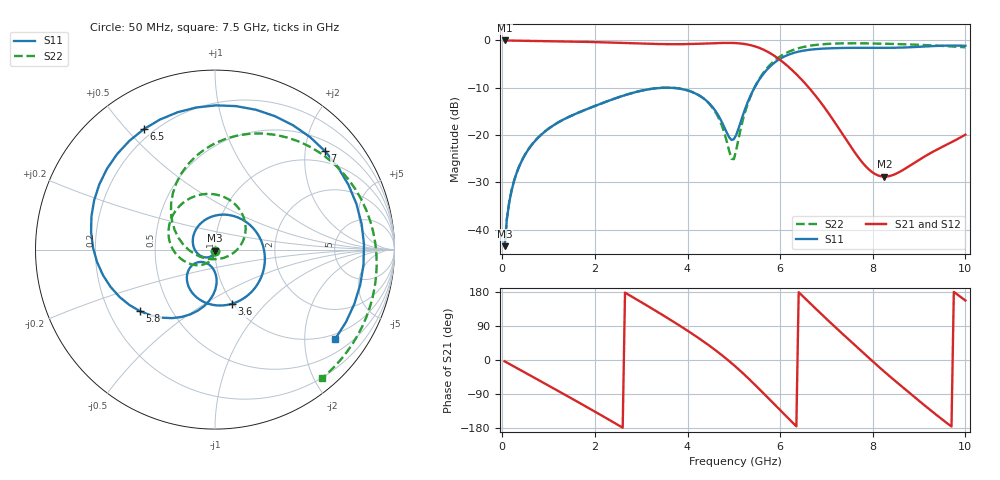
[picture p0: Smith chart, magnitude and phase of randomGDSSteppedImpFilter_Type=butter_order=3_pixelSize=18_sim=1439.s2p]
! freq	dB(S11)	phase(S11)	dB(S12)	phase(S12)
!  dB(S21)	phase(S21)	dB(S22)	phase(S22)
!S-par simulation data
#  GHz  S  DB  R 50
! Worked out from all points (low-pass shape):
!   200 points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, 50 MHz to 10 GHz, reference 50 ohm
!   highest |S21| = -0.01 dB at 50 MHz (marker M1); lowest = -28.8 dB at 8.25 GHz (marker M2)
!   |S21| within 3 dB of the highest: start of sweep to 5.836 GHz
!   lowest |S11| = -43.5 dB at 50 MHz (marker M3), VSWR 1.01, Z = 50 - j0.669 ohm
!   |S11| at or under -10 dB: start of sweep to 3.5 GHz; 3.608 GHz to 5.445 GHz (1.837 GHz wide, 40.6 % of centre)
!   |S22| runs from -43.5 to -0.6 dB; largest |S21 - S12| = 0
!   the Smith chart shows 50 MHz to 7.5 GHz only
!   S11 on the Smith chart (normalised r, x): 50 MHz: 1.00, -0.01; 3.6 GHz: 0.98, -0.66; 5.8 GHz: 0.33, -0.32; 6.5 GHz: 0.16, +0.56; 7 GHz: 0.72, +2.44; 7.5 GHz: 0.85, -2.79
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0.05  -43.48 -90.9  -0.01 -3.4  -0.01 -3.4  -43.47 -87.9
0.5  -24.02 -136.2  -0.07 -33.9  -0.07 -33.9  -23.97 -112.0
1.75  -14.83 99.6  -0.29 -118.9  -0.29 -118.9  -14.83 -158.9
2.6  -11.72 13.5  -0.53 -178.6  -0.53 -178.6  -11.71 168.4
3.4  -10.05 -56.9  -0.77 123.3  -0.77 123.3  -10.02 123.7
3.6  -10.00 -73.0  -0.80 108.4  -0.80 108.4  -9.96 110.2
4.3  -11.93 -125.5  -0.69 52.7  -0.69 52.7  -11.94 54.1
5.05  -20.00 -99.5  -0.57 -18.8  -0.57 -18.8  -23.26 -132.7
5.45  -9.91 -100.8  -1.23 -64.7  -1.23 -64.7  -9.90 140.1
5.8  -5.34 -140.6  -2.79 -107.8  -2.79 -107.8  -4.98 95.6
6.15  -3.13 172.1  -5.32 -150.9  -5.32 -150.9  -2.56 56.7
6.5  -2.16 120.6  -8.66 167.1  -8.66 167.1  -1.39 23.2
6.7  -1.90 89.6  -10.91 143.4  -10.91 143.4  -1.04 6.2
7  -1.69 41.8  -14.76 108.4  -14.76 108.4  -0.75 -16.8
7.5  -1.57 -36.6  -22.07 51.9  -22.07 51.9  -0.61 -50.3
7.85  -1.56 -88.8  -26.63 12.9  -26.63 12.9  -0.62 -71.2
8.25  -1.57 -148.0  -28.79 -30.8  -28.79 -30.8  -0.70 -93.7
8.35  -1.57 -163.1  -28.69 -41.4  -28.69 -41.4  -0.72 -99.2
8.65  -1.51 150.9  -27.40 -72.3  -27.40 -72.3  -0.80 -115.7
9.05  -1.32 90.3  -24.93 -112.8  -24.93 -112.8  -0.95 -138.1
9.5  -1.12 30.7  -22.50 -156.9  -22.50 -156.9  -1.15 -165.1
10  -1.13 -20.9  -19.91 157.1  -19.91 157.1  -1.46 160.4
